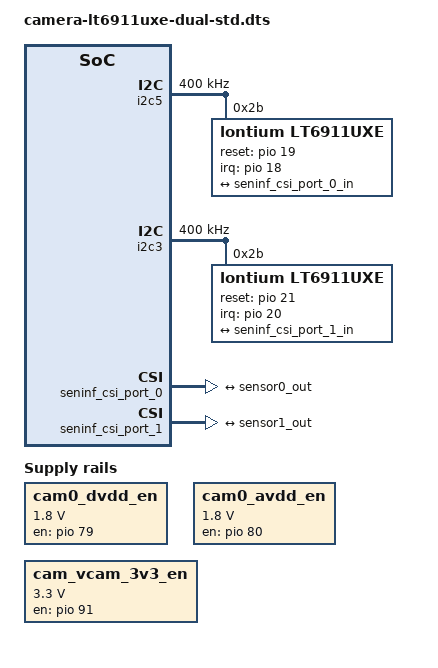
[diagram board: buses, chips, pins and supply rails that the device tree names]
// SPDX-License-Identifier: GPL-2.0
/*
 * Copyright (c) 2024 MediaTek Inc.
 *
 */

#include <dt-bindings/clock/mediatek,mt8188-clk.h>
#include <dt-bindings/gpio/gpio.h>
#include <dt-bindings/pinctrl/mediatek,mt8188-pinfunc.h>
#include <dt-bindings/interrupt-controller/irq.h>

/dts-v1/;
/plugin/;

#include "isp71.dtsi"

/ {
	fragment@4 {
		target-path = "/";
		__overlay__ {
			cam0_dvdd_en: cam0-dvdd-en-regulator {
				compatible = "regulator-fixed";
				regulator-name = "cam0_dvdd_en";
				regulator-min-microvolt = <1800000>;
				regulator-max-microvolt = <1800000>;
				gpio = <&pio 79 0>;
				startup-delay-us = <18000>;
				enable-active-high;
				regulator-always-on;
				pinctrl-names = "default";
				pinctrl-0 = <&cam0_dvdd_en_pins>;
			};

			cam0_avdd_en: cam0-avdd-en-regulator {
				compatible = "regulator-fixed";
				regulator-name = "cam0_avdd_en";
				regulator-min-microvolt = <1800000>;
				regulator-max-microvolt = <1800000>;
				gpio = <&pio 80 0>;
				startup-delay-us = <18000>;
				enable-active-high;
				regulator-always-on;
				pinctrl-names = "default";
				pinctrl-0 = <&cam0_avdd_en_pins>;
			};

			cam_vcam_3v3_en: cam-vcam-3v3-en-regulator {
				compatible = "regulator-fixed";
				regulator-name = "cam_vcam_3v3_en";
				regulator-min-microvolt = <3300000>;
				regulator-max-microvolt = <3300000>;
				gpio = <&pio 91 GPIO_ACTIVE_HIGH>;
				enable-active-high;
				regulator-always-on;
				pinctrl-names = "default";
				pinctrl-0 = <&cam_vcam_3v3_en_pins>;
			};
		};
	};

	fragment@5 {
		target = <&spi2>;
		__overlay__ {
			status = "disabled";
		};
	};

	fragment@6 {
		target = <&pio>;
		__overlay__ {
			cam0_pins_default: cam0_pins_default {
				pins-cmd-dat {
					pinmux = <PINMUX_GPIO18__FUNC_B_GPIO18>,
						 <PINMUX_GPIO19__FUNC_B_GPIO19>;
				};
			};

			cam1_pins_default: cam1_pins_default {
				pins-cmd-dat {
					pinmux = <PINMUX_GPIO20__FUNC_B_GPIO20>,
						 <PINMUX_GPIO21__FUNC_B_GPIO21>;
				};
			};

			cam0_dvdd_en_pins: cam0-dvdd-en-pins {
				pins_cmd_dat {
					pinmux = <PINMUX_GPIO79__FUNC_B_GPIO79>;
				};
			};

			cam0_avdd_en_pins: cam0-avdd-en-pins {
				pins_cmd_dat {
					pinmux = <PINMUX_GPIO80__FUNC_B_GPIO80>;
				};
			};

			cam_vcam_3v3_en_pins: cam-vcam-3v3-en-pins {
				pins_cmd_dat {
					pinmux = <PINMUX_GPIO91__FUNC_B_GPIO91>;
				};
			};
		};
	};

	fragment@7 {
		target = <&i2c5>;
		__overlay__ {
			clock-frequency = <400000>;

			lt6911uxe@2b {
				compatible = "lontium,lt6911uxe";
				reg = <0x2b>;
				status = "okay";

				pinctrl-names = "default";
				pinctrl-0 = <&cam0_pins_default>;

				interrupt-parent = <&pio>;
				interrupts = <18 IRQ_TYPE_LEVEL_HIGH>;

				reset-gpio = <&pio 19 GPIO_ACTIVE_HIGH>;

				port {
					sensor0_out: endpoint {
						remote-endpoint = <&seninf_csi_port_0_in>;
						data-lanes = <1 2 3 4>;
						link-frequencies = /bits/ 64 <480000000>;
					};
				};
			};
		};
	};

	fragment@8 {
		target = <&i2c3>;
		__overlay__ {
			clock-frequency = <400000>;

			lt6911uxe@2b {
				compatible = "lontium,lt6911uxe";
				reg = <0x2b>;
				status = "okay";

				pinctrl-names = "default";
				pinctrl-0 = <&cam1_pins_default>;

				interrupt-parent = <&pio>;
				interrupts = <20 IRQ_TYPE_LEVEL_HIGH>;

				reset-gpio = <&pio 21 GPIO_ACTIVE_HIGH>;

				port {
					sensor1_out: endpoint {
						remote-endpoint = <&seninf_csi_port_1_in>;
						data-lanes = <1 2 3 4>;
						link-frequencies = /bits/ 64 <480000000>;
					};
				};
			};
		};
	};

	fragment@9 {
		target = <&seninf_top>;
		__overlay__ {
			seninf_csi_port_0: seninf_csi_port_0 {
				compatible = "mediatek,seninf";
				csi-port = "0";
				hs_trail_parameter = <0x0>;

				port {
					seninf_csi_port_0_in: endpoint {
						remote-endpoint = <&sensor0_out>;
						data-lanes = <1 2 3 4>;
					};
				};
			};

			seninf_csi_port_1: seninf_csi_port_1 {
				compatible = "mediatek,seninf";
				csi-port = "1";
				hs_trail_parameter = <0x0>;

				port {
					seninf_csi_port_1_in: endpoint {
						remote-endpoint = <&sensor1_out>;
						data-lanes = <1 2 3 4>;
					};
				};
			};
		};
	};

	fragment@10 {
		target = <&hcp>;
		__overlay__ {
			status = "disabled";
		};
	};

	fragment@11 {
		target-path = "/soc/hcp_l15";
		__overlay__ {
			status = "disabled";
		};
	};

	fragment@12 {
		target-path = "/soc/imgsys_l10";
		__overlay__ {
			status = "disabled";
		};
	};

	fragment@13 {
		target-path = "/soc/imgsys_l11A";
		__overlay__ {
			status = "disabled";
		};
	};

	fragment@14 {
		target-path = "/soc/imgsys_l11C";
		__overlay__ {
			status = "disabled";
		};
	};

	fragment@15 {
		target = <&imgsys_fw>;
		__overlay__ {
			status = "disabled";
		};
	};

	fragment@16 {
		target = <&ipesys_me>;
		__overlay__ {
			status = "disabled";
		};
	};
};
